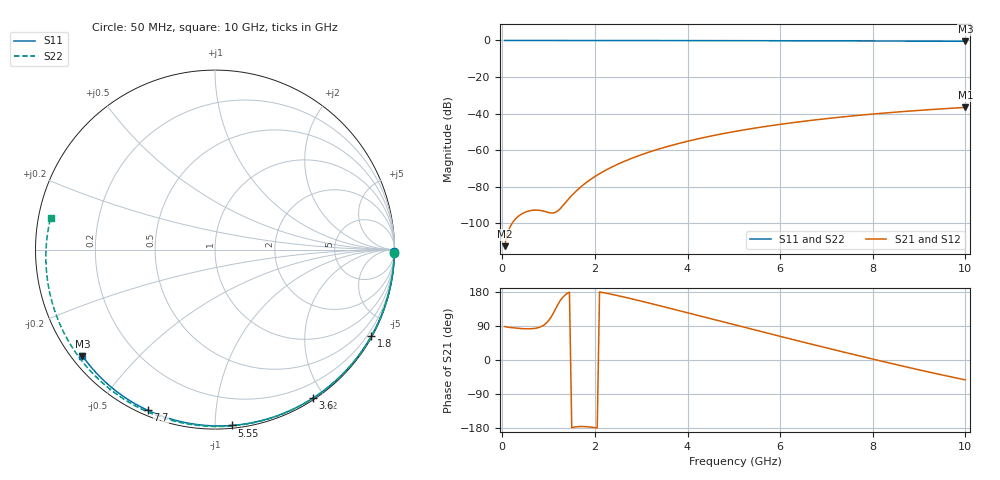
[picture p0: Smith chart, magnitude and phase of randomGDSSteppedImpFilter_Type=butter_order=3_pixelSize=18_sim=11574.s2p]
! freq	dB(S11)	phase(S11)	dB(S12)	phase(S12)
!  dB(S21)	phase(S21)	dB(S22)	phase(S22)
!S-par simulation data
#  GHz  S  DB  R 50
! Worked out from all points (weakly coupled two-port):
!   200 points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, 50 MHz to 10 GHz, reference 50 ohm
!   highest |S21| = -36.65 dB at 10 GHz (marker M1); lowest = -112.6 dB at 50 MHz (marker M2)
!   lowest |S11| = -0.5 dB at 10 GHz (marker M3), VSWR 36.36, Z = 1.54 - j17.6 ohm
!   |S11| at or under -10 dB: nowhere
!   |S22| runs from -0.6 to 0.0 dB; largest |S21 - S12| = 0
!   S11 on the Smith chart (normalised r, x): 50 MHz: open; 1.8 GHz: 0.03, -3.86; 3.6 GHz: 0.02, -1.85; 5.55 GHz: 0.02, -1.10; 7.7 GHz: 0.02, -0.67; 10 GHz: 0.03, -0.35
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0.05  -0.01 -0.8  -112.56 88.2  -112.56 88.2  -0.01 -1.1
0.45  -0.01 -7.3  -94.48 82.6  -94.48 82.6  -0.01 -9.9
0.85  -0.02 -13.8  -93.14 88.9  -93.14 88.9  -0.02 -18.6
1.25  -0.03 -20.3  -92.10 156.7  -92.10 156.7  -0.03 -27.2
1.7  -0.03 -27.5  -80.03 -175.4  -80.03 -175.4  -0.05 -36.8
1.75  -0.04 -28.2  -78.99 -175.5  -78.99 -175.5  -0.05 -37.9
1.8  -0.04 -29.0  -77.99 -175.8  -77.99 -175.8  -0.05 -38.9
2.1  -0.04 -33.8  -72.90 179.5  -72.90 179.5  -0.06 -45.2
2.5  -0.05 -40.0  -67.65 169.7  -67.65 169.7  -0.07 -53.4
2.9  -0.06 -46.1  -63.48 158.3  -63.48 158.3  -0.08 -61.5
3.4  -0.07 -53.7  -59.25 143.2  -59.25 143.2  -0.09 -71.4
3.6  -0.08 -56.7  -57.79 137.0  -57.79 137.0  -0.10 -75.3
4.3  -0.09 -66.9  -53.41 115.2  -53.41 115.2  -0.12 -88.6
5.05  -0.12 -77.6  -49.67 91.7  -49.67 91.7  -0.16 -102.4
5.55  -0.14 -84.5  -47.58 76.2  -47.58 76.2  -0.18 -111.4
6.1  -0.16 -91.9  -45.56 59.3  -45.56 59.3  -0.21 -121.1
6.7  -0.19 -99.8  -43.64 41.0  -43.64 41.0  -0.25 -131.6
7.2  -0.22 -106.3  -42.23 26.0  -42.23 26.0  -0.29 -140.2
7.7  -0.26 -112.7  -40.96 11.2  -40.96 11.2  -0.34 -148.9
8.35  -0.31 -120.8  -39.52 -7.7  -39.52 -7.7  -0.40 -160.3
9.2  -0.39 -131.4  -37.91 -31.5  -37.91 -31.5  -0.50 -175.7
10  -0.48 -141.3  -36.65 -52.5  -36.65 -52.5  -0.60 169.0
